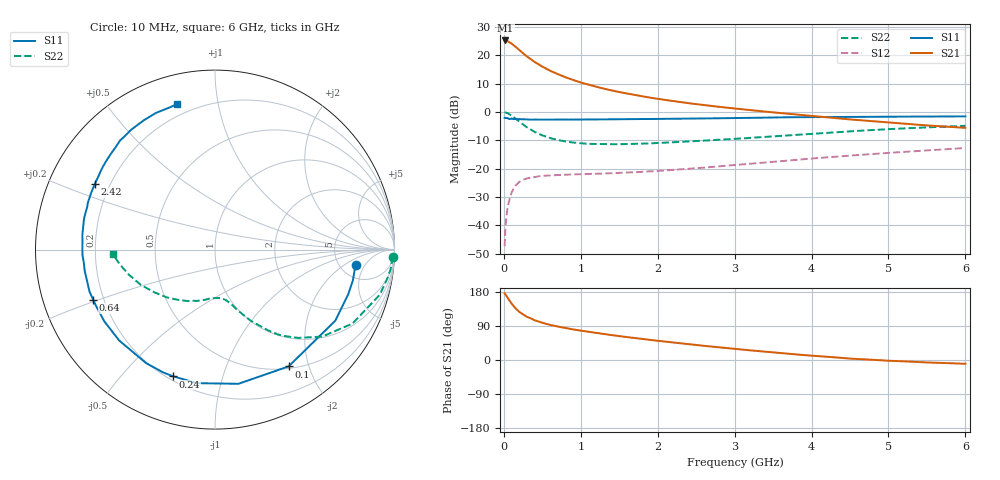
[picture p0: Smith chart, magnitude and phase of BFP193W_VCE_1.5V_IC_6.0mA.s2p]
! Infineon Technologies  Discrete & RF Semiconductors
! BFP193W
! VCE = 1.5 V,  IC =  6.0 mA
! Common Emitter S-Parameters:  Jan 2016
# GHz  S  MA  R  50
!  f  S11  S21  S12  S22
! GHz  MAG  ANG  MAG  ANG  MAG  ANG  MAG  ANG
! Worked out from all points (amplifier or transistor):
!   210 points, 10 MHz to 6 GHz, reference 50 ohm
!   highest |S21| = 25.2 dB at 20 MHz (marker M1)
!   |S21| within 3 dB of that: start of sweep to 184.9 MHz
!   unconditionally stable (mu >= 1): 1.535 GHz to 4.804 GHz
!   at 185 MHz: K = 0.16, MSG = 23.7 dB, |S12| = -25.1 dB
!   at 1.52 GHz: K = 1.00, MSG = 14.2 dB, |S12| = -21.5 dB
!   at 6 GHz: K = 0.94, MSG = 3.6 dB, |S12| = -12.7 dB
!   S11 on the Smith chart (normalised r, x): 10 MHz: 7.02, -3.09; 100 MHz: 0.53, -1.69; 240 MHz: 0.22, -0.70; 640 MHz: 0.16, -0.19; 2.42 GHz: 0.14, +0.25; 6 GHz: 0.14, +0.76
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0.01  0.7874 -6.1  18.16 175.9  0.0043 87.4  0.9908 -2.3
0.02  0.7872 -12.5  18.24 173.3  0.0086 83.3  0.9842 -6.4
0.03  0.783 -18.5  18.09 170.1  0.0128 81.5  0.9744 -9.3
0.05  0.7785 -30.6  17.7 163.5  0.021 75.5  0.952 -15.3
0.1  0.7692 -57.8  16.12 148.8  0.0376 62.0  0.8697 -28.3
0.15  0.759 -80.1  14.24 136.5  0.0502 51.9  0.7697 -39.0
0.2  0.7508 -97.6  12.39 127.1  0.0581 44.5  0.6773 -46.6
0.24  0.7438 -108.2  11.15 121.5  0.0627 39.9  0.6156 -51.4
0.26  0.7428 -112.9  10.58 118.8  0.0646 37.9  0.5875 -53.5
0.3  0.7399 -121.2  9.524 113.9  0.0673 34.7  0.5352 -56.9
0.4  0.7359 -136.5  7.621 104.8  0.0717 29.5  0.445 -63.2
0.5  0.735 -147.1  6.303 98.0  0.0749 26.4  0.3869 -67.4
0.64  0.7339 -157.6  5.066 91.1  0.0765 24.1  0.3359 -71.6
0.8  0.7338 -166.4  4.092 84.3  0.0784 23.3  0.3019 -75.4
1.02  0.7353 -175.1  3.25 76.9  0.0798 23.5  0.279 -80.4
1.4  0.7435 173.8  2.399 65.7  0.0834 25.8  0.2704 -88.2
2.02  0.7554 159.2  1.689 50.3  0.0917 32.2  0.2851 -101.1
2.42  0.7629 151.5  1.418 41.4  0.0997 35.7  0.3038 -109.8
3.1  0.784 139.4  1.113 27.5  0.119 39.9  0.3421 -124.7
4.1  0.8154 124.0  0.826 10.0  0.1547 40.6  0.419 -146.5
5.1  0.8294 112.5  0.636 -2.7  0.1938 37.5  0.5051 -165.1
6  0.8369 104.8  0.525 -10.0  0.2316 33.4  0.5705 -177.7
